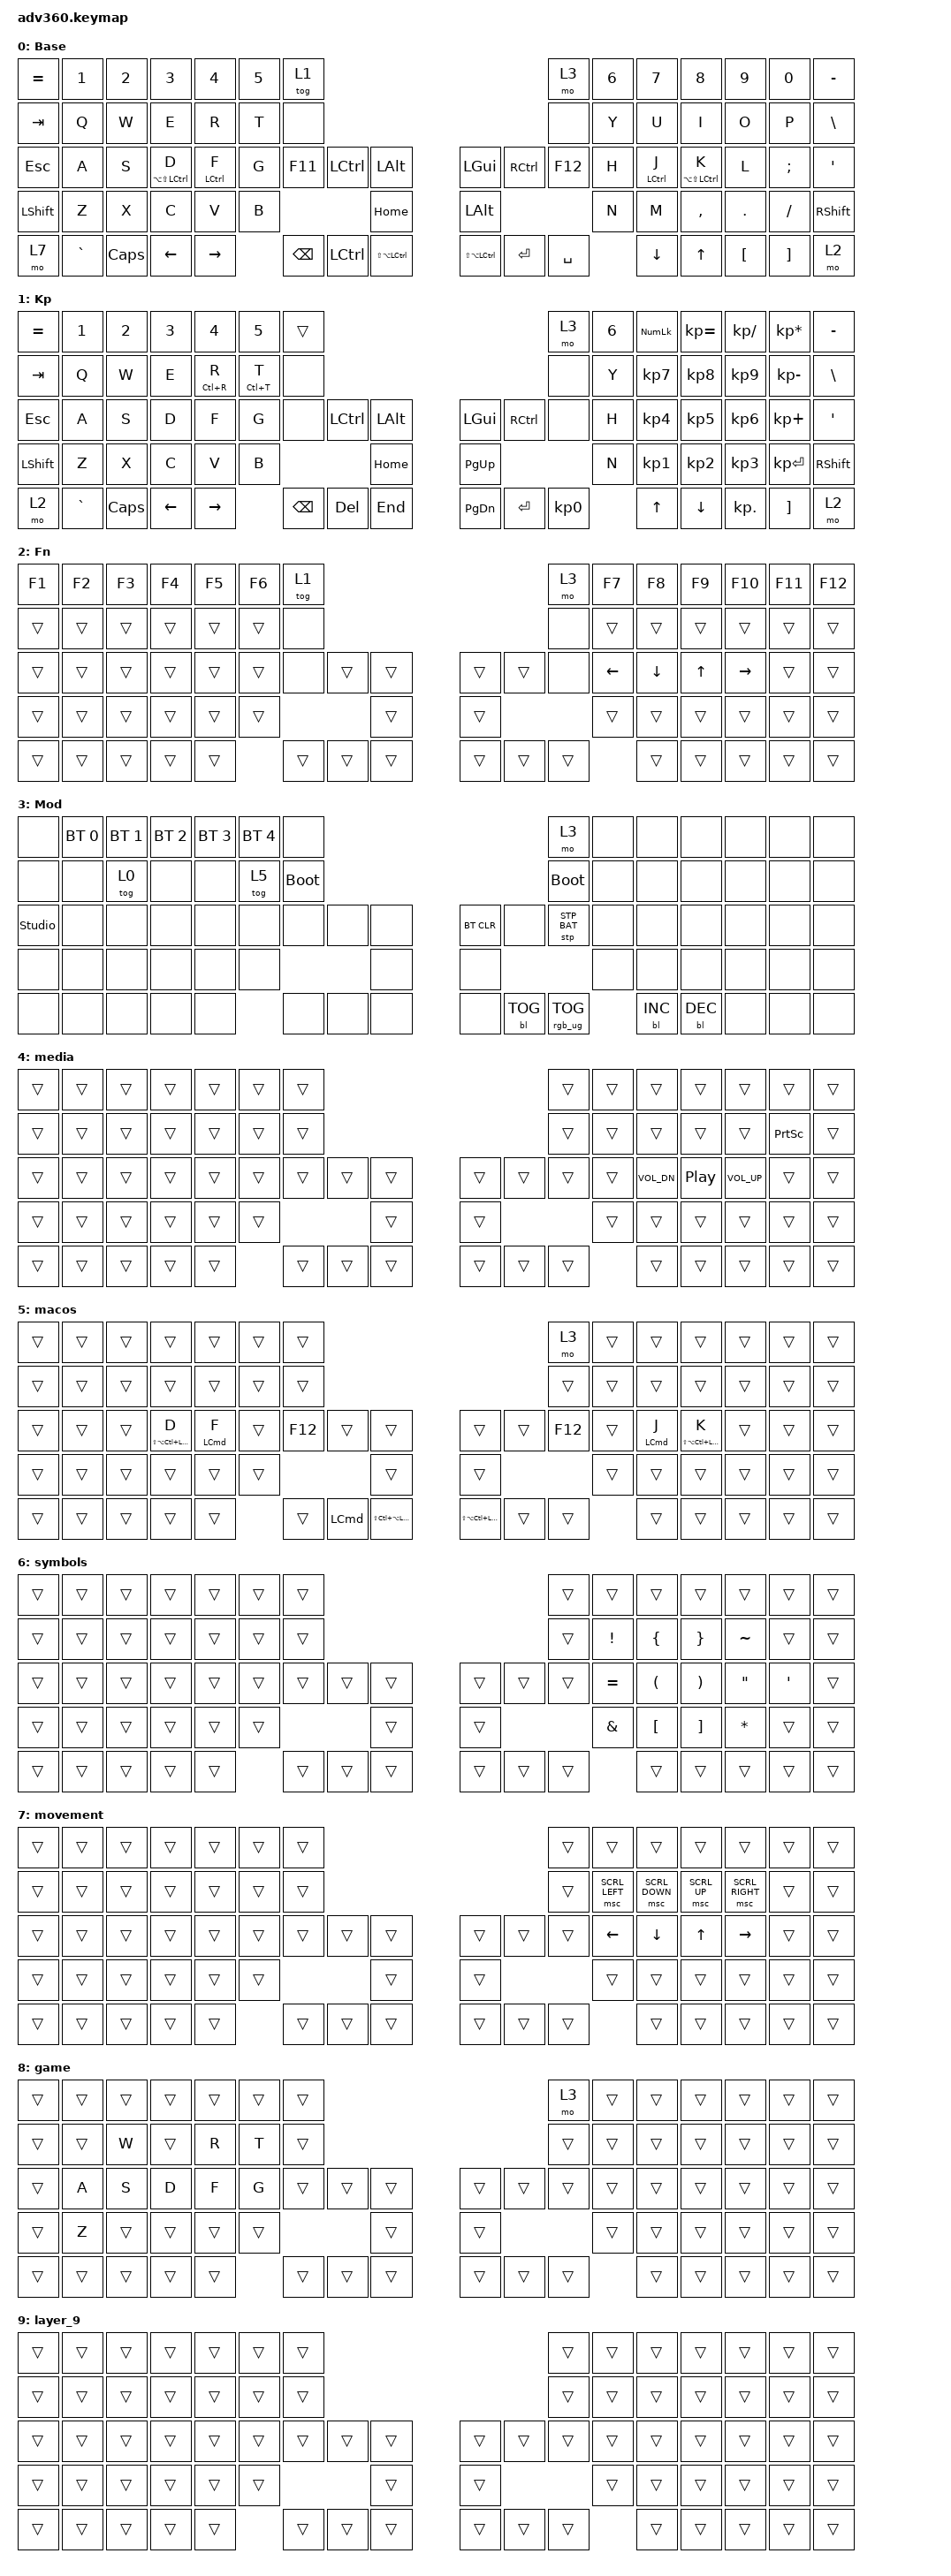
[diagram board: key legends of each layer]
#include <dt-bindings/zmk/stp.h>
#include <behaviors.dtsi>
#include <dt-bindings/zmk/backlight.h>
#include <dt-bindings/zmk/bt.h>
#include <dt-bindings/zmk/keys.h>
#include <dt-bindings/zmk/pointing.h>
#include <dt-bindings/zmk/rgb.h>

/ {
    behaviors {
        #include "macros.dtsi"
      #include "version.dtsi"

        hm: homerow_mods {
            compatible = "zmk,behavior-hold-tap";
            label = "HOMEROW_MODS";
            #binding-cells = <2>;
            tapping-term-ms = <200>;
            quick_tap_ms = <175>;
            flavor = "tap-preferred";
            bindings = <&kp>, <&kp>;
        };
    };

    keymap {
        compatible = "zmk,keymap";

        default_layer {
            display-name = "Base";
            bindings = <
&kp EQUAL  &kp N1     &kp N2    &kp N3               &kp N4       &kp N5  &tog 1                                                                           &mo 3      &kp N6  &kp N7       &kp N8               &kp N9    &kp N0    &kp MINUS
&kp TAB    &kp Q      &kp W     &kp E                &kp R        &kp T   &none                                                                            &none      &kp Y   &kp U        &kp I                &kp O     &kp P     &kp BSLH
&kp ESC    &kp A      &kp S     &hm LA(LS(LCTRL)) D  &hm LCTRL F  &kp G   &kp F11   &kp LCTRL         &kp LALT               &kp LGUI           &kp RCTRL  &kp F12    &kp H   &hm LCTRL J  &hm LA(LS(LCTRL)) K  &kp L     &kp SEMI  &kp SQT
&kp LSHFT  &kp Z      &kp X     &kp C                &kp V        &kp B                               &kp HOME               &kp LEFT_ALT                             &kp N   &kp M        &kp COMMA            &kp DOT   &kp FSLH  &kp RSHFT
&mo 7      &kp GRAVE  &kp CAPS  &kp LEFT             &kp RIGHT            &kp BSPC  &kp LEFT_CONTROL  &kp LS(LA(LCTRL))      &kp LS(LA(LCTRL))  &kp ENTER  &kp SPACE          &kp DOWN     &kp UP_ARROW         &kp LBKT  &kp RBKT  &mo 2
            >;
        };

        keypad {
            display-name = "Kp";
            bindings = <
&kp EQUAL  &kp N1     &kp N2    &kp N3    &kp N4       &kp N5       &trans                                                   &mo 3      &kp N6  &kp KP_NUM  &kp KP_EQUAL  &kp KP_DIVIDE  &kp KP_MULTIPLY  &kp MINUS
&kp TAB    &kp Q      &kp W     &kp E     &hm LC(R) R  &hm LC(T) T  &none                                                    &none      &kp Y   &kp KP_N7   &kp KP_N8     &kp KP_N9      &kp KP_MINUS     &kp BSLH
&kp ESC    &kp A      &kp S     &kp D     &kp F        &kp G        &none     &kp LCTRL  &kp LALT      &kp LGUI   &kp RCTRL  &none      &kp H   &kp KP_N4   &kp KP_N5     &kp KP_N6      &kp KP_PLUS      &kp SQT
&kp LSHFT  &kp Z      &kp X     &kp C     &kp V        &kp B                             &kp HOME      &kp PG_UP                        &kp N   &kp KP_N1   &kp KP_N2     &kp KP_N3      &kp KP_ENTER     &kp RSHFT
&mo 2      &kp GRAVE  &kp CAPS  &kp LEFT  &kp RIGHT                 &kp BSPC  &kp DEL    &kp END       &kp PG_DN  &kp ENTER  &kp KP_N0          &kp UP      &kp DOWN      &kp KP_DOT     &kp RBKT         &mo 2
            >;
        };

        fn {
            display-name = "Fn";
            bindings = <
&kp F1  &kp F2  &kp F3  &kp F4  &kp F5  &kp F6  &tog 1                                      &mo 3   &kp F7    &kp F8    &kp F9        &kp F10    &kp F11  &kp F12
&trans  &trans  &trans  &trans  &trans  &trans  &none                                       &none   &trans    &trans    &trans        &trans     &trans   &trans
&trans  &trans  &trans  &trans  &trans  &trans  &none   &trans  &trans      &trans  &trans  &none   &kp LEFT  &kp DOWN  &kp UP_ARROW  &kp RIGHT  &trans   &trans
&trans  &trans  &trans  &trans  &trans  &trans                  &trans      &trans                  &trans    &trans    &trans        &trans     &trans   &trans
&trans  &trans  &trans  &trans  &trans          &trans  &trans  &trans      &trans  &trans  &trans            &trans    &trans        &trans     &trans   &trans
            >;
        };

        mod {
            display-name = "Mod";
            bindings = <
&none           &bt BT_SEL 0  &bt BT_SEL 1  &bt BT_SEL 2  &bt BT_SEL 3  &bt BT_SEL 4  &none                                                  &mo 3            &none  &none       &none       &none  &none  &none
&none           &none         &tog 0        &none         &none         &tog 5        &bootloader                                            &bootloader      &none  &none       &none       &none  &none  &none
&studio_unlock  &none         &none         &none         &none         &none         &none        &none  &none      &bt BT_CLR  &none       &stp STP_BAT     &none  &none       &none       &none  &none  &none
&none           &none         &none         &none         &none         &none                             &none      &none                                    &none  &none       &none       &none  &none  &none
&none           &none         &none         &none         &none                       &none        &none  &none      &none       &bl BL_TOG  &rgb_ug RGB_TOG         &bl BL_INC  &bl BL_DEC  &none  &none  &none
            >;
        };

        media {
            bindings = <
&trans  &trans  &trans  &trans  &trans  &trans  &trans                                      &trans  &trans  &trans        &trans            &trans        &trans           &trans
&trans  &trans  &trans  &trans  &trans  &trans  &trans                                      &trans  &trans  &trans        &trans            &trans        &kp PRINTSCREEN  &trans
&trans  &trans  &trans  &trans  &trans  &trans  &trans  &trans  &trans      &trans  &trans  &trans  &trans  &kp C_VOL_DN  &kp C_PLAY_PAUSE  &kp C_VOL_UP  &trans           &trans
&trans  &trans  &trans  &trans  &trans  &trans                  &trans      &trans                  &trans  &trans        &trans            &trans        &trans           &trans
&trans  &trans  &trans  &trans  &trans          &trans  &trans  &trans      &trans  &trans  &trans          &trans        &trans            &trans        &trans           &trans
            >;
        };

        macos {
            bindings = <
&trans  &trans  &trans  &trans                  &trans      &trans  &trans                                                                     &mo 3    &trans  &trans      &trans                  &trans  &trans  &trans
&trans  &trans  &trans  &trans                  &trans      &trans  &trans                                                                     &trans   &trans  &trans      &trans                  &trans  &trans  &trans
&trans  &trans  &trans  &hm LS(LA(LC(LCMD))) D  &hm LCMD F  &trans  &kp F12  &trans    &trans                    &trans                &trans  &kp F12  &trans  &hm LCMD J  &hm LS(LA(LC(LCMD))) K  &trans  &trans  &trans
&trans  &trans  &trans  &trans                  &trans      &trans                     &trans                    &trans                                 &trans  &trans      &trans                  &trans  &trans  &trans
&trans  &trans  &trans  &trans                  &trans              &trans   &kp LCMD  &kp LS(LC(LA(LCMD)))      &kp LS(LA(LC(LCMD)))  &trans  &trans           &trans      &trans                  &trans  &trans  &trans
            >;
        };

        symbols {
            bindings = <
&trans  &trans  &trans  &trans  &trans  &trans  &trans                                      &trans  &trans           &trans                &trans                 &trans             &trans   &trans
&trans  &trans  &trans  &trans  &trans  &trans  &trans                                      &trans  &kp EXCLAMATION  &kp LEFT_BRACE        &kp RIGHT_BRACE        &kp TILDE          &trans   &trans
&trans  &trans  &trans  &trans  &trans  &trans  &trans  &trans  &trans      &trans  &trans  &trans  &kp EQUAL        &kp LEFT_PARENTHESIS  &kp RIGHT_PARENTHESIS  &kp DOUBLE_QUOTES  &kp SQT  &trans
&trans  &trans  &trans  &trans  &trans  &trans                  &trans      &trans                  &kp AMPERSAND    &kp LEFT_BRACKET      &kp RIGHT_BRACKET      &kp ASTERISK       &trans   &trans
&trans  &trans  &trans  &trans  &trans          &trans  &trans  &trans      &trans  &trans  &trans                   &trans                &trans                 &trans             &trans   &trans
            >;
        };

        movement {
            bindings = <
&trans  &trans  &trans  &trans  &trans  &trans  &trans                                      &trans  &trans          &trans          &trans        &trans           &trans  &trans
&trans  &trans  &trans  &trans  &trans  &trans  &trans                                      &trans  &msc SCRL_LEFT  &msc SCRL_DOWN  &msc SCRL_UP  &msc SCRL_RIGHT  &trans  &trans
&trans  &trans  &trans  &trans  &trans  &trans  &trans  &trans  &trans      &trans  &trans  &trans  &kp LEFT        &kp DOWN        &kp UP_ARROW  &kp RIGHT        &trans  &trans
&trans  &trans  &trans  &trans  &trans  &trans                  &trans      &trans                  &trans          &trans          &trans        &trans           &trans  &trans
&trans  &trans  &trans  &trans  &trans          &trans  &trans  &trans      &trans  &trans  &trans                  &trans          &trans        &trans           &trans  &trans
            >;
        };

        game {
            bindings = <
&trans  &trans  &trans  &trans  &trans  &trans  &trans                                      &mo 3   &trans  &trans  &trans  &trans  &trans  &trans
&trans  &trans  &kp W   &trans  &kp R   &kp T   &trans                                      &trans  &trans  &trans  &trans  &trans  &trans  &trans
&trans  &kp A   &kp S   &kp D   &kp F   &kp G   &trans  &trans  &trans      &trans  &trans  &trans  &trans  &trans  &trans  &trans  &trans  &trans
&trans  &kp Z   &trans  &trans  &trans  &trans                  &trans      &trans                  &trans  &trans  &trans  &trans  &trans  &trans
&trans  &trans  &trans  &trans  &trans          &trans  &trans  &trans      &trans  &trans  &trans          &trans  &trans  &trans  &trans  &trans
            >;
        };

        layer_9 {
            bindings = <
&trans  &trans  &trans  &trans  &trans  &trans  &trans                                      &trans  &trans  &trans  &trans  &trans  &trans  &trans
&trans  &trans  &trans  &trans  &trans  &trans  &trans                                      &trans  &trans  &trans  &trans  &trans  &trans  &trans
&trans  &trans  &trans  &trans  &trans  &trans  &trans  &trans  &trans      &trans  &trans  &trans  &trans  &trans  &trans  &trans  &trans  &trans
&trans  &trans  &trans  &trans  &trans  &trans                  &trans      &trans                  &trans  &trans  &trans  &trans  &trans  &trans
&trans  &trans  &trans  &trans  &trans          &trans  &trans  &trans      &trans  &trans  &trans          &trans  &trans  &trans  &trans  &trans
            >;
        };
    };
};
